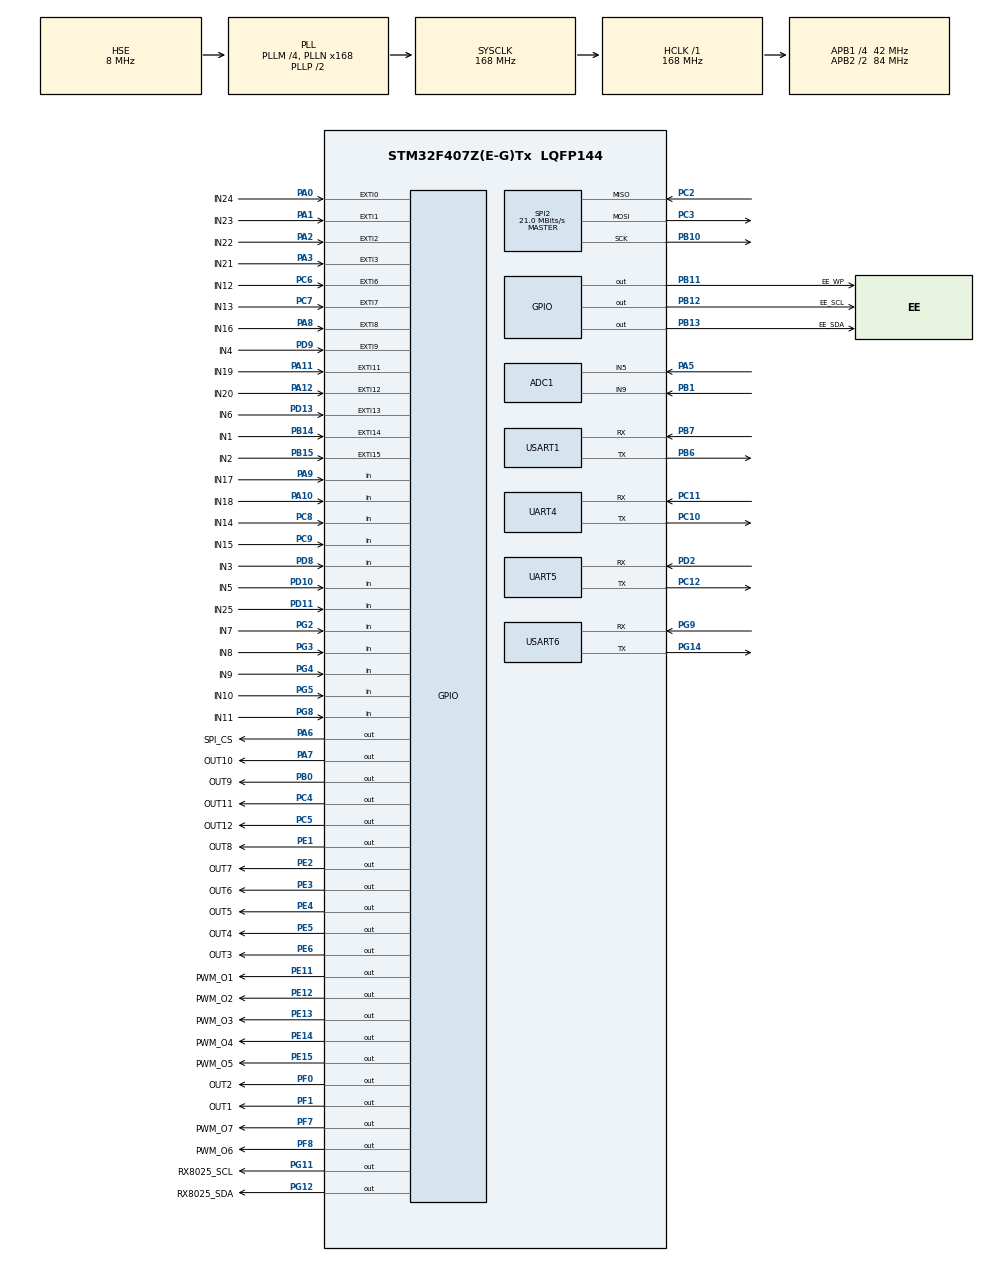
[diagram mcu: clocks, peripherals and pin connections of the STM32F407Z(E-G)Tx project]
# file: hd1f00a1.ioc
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ADC1.Channel-0\#ChannelRegularConversion=ADC_CHANNEL_5
ADC1.Channel-1\#ChannelRegularConversion=ADC_CHANNEL_9
ADC1.ClockPrescaler=ADC_CLOCK_SYNC_PCLK_DIV8
ADC1.ContinuousConvMode=DISABLE
ADC1.DMAContinuousRequests=ENABLE
ADC1.EOCSelection=ADC_EOC_SEQ_CONV
ADC1.NbrOfConversion=2
ADC1.NbrOfConversionFlag=1
ADC1.Rank-0\#ChannelRegularConversion=1
ADC1.Rank-1\#ChannelRegularConversion=2
ADC1.SamplingTime-0\#ChannelRegularConversion=ADC_SAMPLETIME_480CYCLES
ADC1.SamplingTime-1\#ChannelRegularConversion=ADC_SAMPLETIME_480CYCLES
ADC1.master=1
Dma.ADC1.1.Direction=DMA_PERIPH_TO_MEMORY
Dma.ADC1.1.FIFOMode=DMA_FIFOMODE_DISABLE
Dma.ADC1.1.Instance=DMA2_Stream0
Dma.ADC1.1.MemDataAlignment=DMA_MDATAALIGN_HALFWORD
Dma.ADC1.1.MemInc=DMA_MINC_ENABLE
Dma.ADC1.1.Mode=DMA_NORMAL
Dma.ADC1.1.PeriphDataAlignment=DMA_PDATAALIGN_HALFWORD
Dma.ADC1.1.PeriphInc=DMA_PINC_DISABLE
Dma.ADC1.1.Priority=DMA_PRIORITY_LOW
Dma.Request0=TIM8_UP
Dma.Request1=ADC1
Dma.TIM8_UP.0.Direction=DMA_MEMORY_TO_PERIPH
Dma.TIM8_UP.0.FIFOMode=DMA_FIFOMODE_DISABLE
Dma.TIM8_UP.0.Instance=DMA2_Stream1
Dma.TIM8_UP.0.MemDataAlignment=DMA_MDATAALIGN_WORD
Dma.TIM8_UP.0.MemInc=DMA_MINC_ENABLE
Dma.TIM8_UP.0.Mode=DMA_NORMAL
Dma.TIM8_UP.0.PeriphDataAlignment=DMA_PDATAALIGN_WORD
Dma.TIM8_UP.0.PeriphInc=DMA_PINC_DISABLE
Dma.TIM8_UP.0.Priority=DMA_PRIORITY_LOW
FREERTOS.INCLUDE_uxTaskGetStackHighWaterMark=1
FREERTOS.MEMORY_ALLOCATION=0
FREERTOS.Tasks01=defaultTask,0,128,StartDefaultTask,Default,NULL,Dynamic,NULL,NULL
FREERTOS.configMINIMAL_STACK_SIZE=256
FREERTOS.configTOTAL_HEAP_SIZE=0x8000
FREERTOS.configUSE_PREEMPTION=0
FREERTOS.configUSE_STATS_FORMATTING_FUNCTIONS=1
FREERTOS.configUSE_TRACE_FACILITY=1
IWDG.Prescaler=IWDG_PRESCALER_64
Mcu.Family=STM32F4
Mcu.Name=STM32F407Z(E-G)Tx
Mcu.Package=LQFP144
NVIC.DMA2_Stream0_IRQn=true\:5\:0\:false\:false\:true\:true\:false\:true\:true
NVIC.DMA2_Stream1_IRQn=true\:5\:0\:false\:false\:true\:true\:false\:true\:true
NVIC.EXTI0_IRQn=true\:5\:0\:false\:false\:true\:true\:true\:true\:true
NVIC.EXTI15_10_IRQn=true\:5\:0\:false\:false\:true\:true\:true\:true\:true
NVIC.EXTI1_IRQn=true\:5\:0\:false\:false\:true\:true\:true\:true\:true
NVIC.EXTI2_IRQn=true\:5\:0\:false\:false\:true\:true\:true\:true\:true
NVIC.EXTI3_IRQn=true\:5\:0\:false\:false\:true\:true\:true\:true\:true
NVIC.EXTI9_5_IRQn=true\:5\:0\:false\:false\:true\:true\:true\:true\:true
NVIC.PriorityGroup=NVIC_PRIORITYGROUP_4
NVIC.TIM1_TRG_COM_TIM11_IRQn=true\:5\:0\:false\:false\:true\:true\:true\:true\:true
NVIC.TIM1_UP_TIM10_IRQn=true\:5\:0\:false\:false\:true\:true\:true\:true\:true
NVIC.TIM3_IRQn=true\:5\:0\:false\:false\:true\:true\:true\:true\:true
NVIC.TIM4_IRQn=true\:5\:0\:false\:false\:true\:true\:true\:true\:true
NVIC.TIM8_UP_TIM13_IRQn=true\:5\:0\:false\:false\:true\:true\:true\:true\:true
NVIC.UART4_IRQn=true\:5\:0\:false\:false\:true\:true\:true\:true\:true
NVIC.UART5_IRQn=true\:5\:0\:false\:false\:true\:true\:true\:true\:true
NVIC.USART1_IRQn=true\:5\:0\:false\:false\:true\:true\:true\:true\:true
NVIC.USART6_IRQn=true\:5\:0\:false\:false\:true\:true\:true\:true\:true
PA0-WKUP.GPIO_Label=IN24
PA0-WKUP.GPIO_ModeDefaultEXTI=GPIO_MODE_IT_FALLING
PA0-WKUP.Signal=GPXTI0
PA1.GPIO_Label=IN23
PA1.GPIO_ModeDefaultEXTI=GPIO_MODE_IT_FALLING
PA1.Signal=GPXTI1
PA10.GPIO_Label=IN18
PA10.Signal=GPIO_Input
PA11.GPIO_Label=IN19
PA11.GPIO_ModeDefaultEXTI=GPIO_MODE_IT_FALLING
PA11.Signal=GPXTI11
PA12.GPIO_Label=IN20
PA12.GPIO_ModeDefaultEXTI=GPIO_MODE_IT_FALLING
PA12.Signal=GPXTI12
PA13.Mode=Serial_Wire
PA13.Signal=SYS_JTMS-SWDIO
PA14.Mode=Serial_Wire
PA14.Signal=SYS_JTCK-SWCLK
PA2.GPIO_Label=IN22
PA2.GPIO_ModeDefaultEXTI=GPIO_MODE_IT_FALLING
PA2.Signal=GPXTI2
PA3.GPIO_Label=IN21
PA3.GPIO_ModeDefaultEXTI=GPIO_MODE_IT_FALLING
PA3.Signal=GPXTI3
PA5.Signal=ADCx_IN5
PA6.GPIO_Label=SPI_CS
PA6.GPIO_Speed=GPIO_SPEED_FREQ_VERY_HIGH
PA6.PinState=GPIO_PIN_SET
PA6.Signal=GPIO_Output
PA7.GPIO_Label=OUT10
PA7.GPIO_Speed=GPIO_SPEED_FREQ_VERY_HIGH
PA7.Signal=GPIO_Output
PA8.GPIO_Label=IN16
PA8.GPIO_ModeDefaultEXTI=GPIO_MODE_IT_FALLING
PA8.Signal=GPXTI8
PA9.GPIO_Label=IN17
PA9.Signal=GPIO_Input
PB0.GPIO_Label=OUT9
PB0.GPIO_Speed=GPIO_SPEED_FREQ_VERY_HIGH
PB0.Signal=GPIO_Output
PB1.Signal=ADCx_IN9
PB10.Mode=Full_Duplex_Master
PB10.Signal=SPI2_SCK
PB11.GPIO_Label=EE_WP
PB11.GPIO_Speed=GPIO_SPEED_FREQ_HIGH
PB11.Signal=GPIO_Output
PB12.GPIO_Label=EE_SCL
PB12.GPIO_ModeDefaultOutputPP=GPIO_MODE_OUTPUT_OD
PB12.GPIO_PuPd=GPIO_PULLUP
PB12.GPIO_Speed=GPIO_SPEED_FREQ_VERY_HIGH
PB12.PinState=GPIO_PIN_SET
PB12.Signal=GPIO_Output
PB13.GPIO_Label=EE_SDA
PB13.GPIO_ModeDefaultOutputPP=GPIO_MODE_OUTPUT_OD
PB13.GPIO_PuPd=GPIO_PULLUP
PB13.GPIO_Speed=GPIO_SPEED_FREQ_VERY_HIGH
PB13.PinState=GPIO_PIN_SET
PB13.Signal=GPIO_Output
PB14.GPIO_Label=IN1
PB14.GPIO_ModeDefaultEXTI=GPIO_MODE_IT_FALLING
PB14.Signal=GPXTI14
PB15.GPIO_Label=IN2
PB15.GPIO_ModeDefaultEXTI=GPIO_MODE_IT_FALLING
PB15.Signal=GPXTI15
PB6.Mode=Asynchronous
PB6.Signal=USART1_TX
PB7.Mode=Asynchronous
PB7.Signal=USART1_RX
PC10.Mode=Asynchronous
PC10.Signal=UART4_TX
PC11.Mode=Asynchronous
PC11.Signal=UART4_RX
PC12.Mode=Asynchronous
PC12.Signal=UART5_TX
PC2.Mode=Full_Duplex_Master
PC2.Signal=SPI2_MISO
PC3.Mode=Full_Duplex_Master
PC3.Signal=SPI2_MOSI
PC4.GPIO_Label=OUT11
PC4.GPIO_Speed=GPIO_SPEED_FREQ_VERY_HIGH
PC4.Signal=GPIO_Output
PC5.GPIO_Label=OUT12
PC5.GPIO_Speed=GPIO_SPEED_FREQ_VERY_HIGH
PC5.Signal=GPIO_Output
PC6.GPIO_Label=IN12
PC6.GPIO_ModeDefaultEXTI=GPIO_MODE_IT_FALLING
PC6.Signal=GPXTI6
PC7.GPIO_Label=IN13
PC7.GPIO_ModeDefaultEXTI=GPIO_MODE_IT_FALLING
PC7.Signal=GPXTI7
PC8.GPIO_Label=IN14
PC8.Signal=GPIO_Input
PC9.GPIO_Label=IN15
PC9.Signal=GPIO_Input
PD10.GPIO_Label=IN5
PD10.Signal=GPIO_Input
PD11.GPIO_Label=IN25
PD11.Signal=GPIO_Input
PD13.GPIO_Label=IN6
PD13.GPIO_ModeDefaultEXTI=GPIO_MODE_IT_FALLING
PD13.Signal=GPXTI13
PD2.Mode=Asynchronous
PD2.Signal=UART5_RX
PD8.GPIO_Label=IN3
PD8.Signal=GPIO_Input
PD9.GPIO_Label=IN4
PD9.GPIO_ModeDefaultEXTI=GPIO_MODE_IT_FALLING
PD9.Signal=GPXTI9
PE1.GPIO_Label=OUT8
PE1.GPIO_Speed=GPIO_SPEED_FREQ_VERY_HIGH
PE1.Signal=GPIO_Output
PE11.GPIO_Label=PWM_O1
PE11.GPIO_Speed=GPIO_SPEED_FREQ_VERY_HIGH
PE11.PinState=GPIO_PIN_RESET
PE11.Signal=GPIO_Output
PE12.GPIO_Label=PWM_O2
PE12.GPIO_Speed=GPIO_SPEED_FREQ_VERY_HIGH
PE12.PinState=GPIO_PIN_RESET
PE12.Signal=GPIO_Output
PE13.GPIO_Label=PWM_O3
PE13.GPIO_Speed=GPIO_SPEED_FREQ_VERY_HIGH
PE13.PinState=GPIO_PIN_RESET
PE13.Signal=GPIO_Output
PE14.GPIO_Label=PWM_O4
PE14.GPIO_Speed=GPIO_SPEED_FREQ_VERY_HIGH
PE14.PinState=GPIO_PIN_RESET
PE14.Signal=GPIO_Output
PE15.GPIO_Label=PWM_O5
PE15.GPIO_Speed=GPIO_SPEED_FREQ_VERY_HIGH
PE15.PinState=GPIO_PIN_RESET
PE15.Signal=GPIO_Output
PE2.GPIO_Label=OUT7
PE2.GPIO_Speed=GPIO_SPEED_FREQ_VERY_HIGH
PE2.Signal=GPIO_Output
PE3.GPIO_Label=OUT6
PE3.GPIO_Speed=GPIO_SPEED_FREQ_VERY_HIGH
PE3.Signal=GPIO_Output
PE4.GPIO_Label=OUT5
PE4.GPIO_Speed=GPIO_SPEED_FREQ_VERY_HIGH
PE4.Signal=GPIO_Output
PE5.GPIO_Label=OUT4
PE5.GPIO_Speed=GPIO_SPEED_FREQ_VERY_HIGH
PE5.Signal=GPIO_Output
PE6.GPIO_Label=OUT3
PE6.GPIO_Speed=GPIO_SPEED_FREQ_VERY_HIGH
PE6.Signal=GPIO_Output
PF0.GPIO_Label=OUT2
PF0.GPIO_Speed=GPIO_SPEED_FREQ_VERY_HIGH
PF0.Signal=GPIO_Output
PF1.GPIO_Label=OUT1
PF1.GPIO_Speed=GPIO_SPEED_FREQ_VERY_HIGH
PF1.Signal=GPIO_Output
PF6.Signal=S_TIM10_CH1
PF7.GPIO_Label=PWM_O7
PF7.GPIO_Speed=GPIO_SPEED_FREQ_VERY_HIGH
PF7.Signal=GPIO_Output
PF8.GPIO_Label=PWM_O6
PF8.GPIO_Speed=GPIO_SPEED_FREQ_VERY_HIGH
PF8.PinState=GPIO_PIN_RESET
PF8.Signal=GPIO_Output
PG11.GPIO_Label=RX8025_SCL
PG11.GPIO_ModeDefaultOutputPP=GPIO_MODE_OUTPUT_OD
PG11.GPIO_PuPd=GPIO_PULLUP
PG11.GPIO_Speed=GPIO_SPEED_FREQ_VERY_HIGH
PG11.PinState=GPIO_PIN_SET
PG11.Signal=GPIO_Output
PG12.GPIO_Label=RX8025_SDA
PG12.GPIO_ModeDefaultOutputPP=GPIO_MODE_OUTPUT_OD
PG12.GPIO_PuPd=GPIO_PULLUP
PG12.GPIO_Speed=GPIO_SPEED_FREQ_VERY_HIGH
PG12.PinState=GPIO_PIN_SET
PG12.Signal=GPIO_Output
PG14.Mode=Asynchronous
PG14.Signal=USART6_TX
PG2.GPIO_Label=IN7
PG2.Signal=GPIO_Input
PG3.GPIO_Label=IN8
PG3.Signal=GPIO_Input
PG4.GPIO_Label=IN9
PG4.Signal=GPIO_Input
PG5.GPIO_Label=IN10
PG5.Signal=GPIO_Input
PG8.GPIO_Label=IN11
PG8.Signal=GPIO_Input
PG9.Mode=Asynchronous
PG9.Signal=USART6_RX
PH0-OSC_IN.Mode=HSE-External-Oscillator
PH0-OSC_IN.Signal=RCC_OSC_IN
PH1-OSC_OUT.Mode=HSE-External-Oscillator
PH1-OSC_OUT.Signal=RCC_OSC_OUT
ProjectManager.HeapSize=0x8000
ProjectManager.StackSize=0x400
ProjectManager.TargetToolchain=MDK-ARM V5
RCC.48MHZClocksFreq_Value=84000000
RCC.AHBFreq_Value=168000000
RCC.APB1CLKDivider=RCC_HCLK_DIV4
RCC.APB1Freq_Value=42000000
RCC.APB1TimFreq_Value=84000000
RCC.APB2CLKDivider=RCC_HCLK_DIV2
RCC.APB2Freq_Value=84000000
RCC.APB2TimFreq_Value=168000000
RCC.CortexFreq_Value=168000000
RCC.HCLKFreq_Value=168000000
RCC.HSE_VALUE=8000000
RCC.HSI_VALUE=16000000
RCC.LSE_VALUE=32768
RCC.PLLM=4
RCC.PLLN=168
RCC.PLLSourceVirtual=RCC_PLLSOURCE_HSE
RCC.SYSCLKFreq_VALUE=168000000
RCC.SYSCLKSource=RCC_SYSCLKSOURCE_PLLCLK
RCC.VCOOutputFreq_Value=336000000
SH.ADCx_IN5.0=ADC1_IN5,IN5
SH.ADCx_IN9.0=ADC1_IN9,IN9
SH.S_TIM10_CH1.0=TIM10_CH1
SPI2.CalculateBaudRate=21.0 MBits/s
SPI2.Direction=SPI_DIRECTION_2LINES
SPI2.Mode=SPI_MODE_MASTER
SPI2.VirtualType=VM_MASTER
TIM1.AutoReloadPreload=TIM_AUTORELOAD_PRELOAD_ENABLE
TIM1.Period=500*8-1
TIM1.Prescaler=168/8-1
TIM10.AutoReloadPreload=TIM_AUTORELOAD_PRELOAD_ENABLE
TIM10.Period=500/2-1
TIM10.Prescaler=168-1
TIM11.AutoReloadPreload=TIM_AUTORELOAD_PRELOAD_ENABLE
TIM11.Period=500/2-1
TIM11.Prescaler=168-1
TIM13.AutoReloadPreload=TIM_AUTORELOAD_PRELOAD_ENABLE
TIM13.Period=500/2-1
TIM13.Prescaler=168-1
TIM3.AutoReloadPreload=TIM_AUTORELOAD_PRELOAD_ENABLE
TIM3.Prescaler=168/8-1
TIM4.AutoReloadPreload=TIM_AUTORELOAD_PRELOAD_ENABLE
TIM4.Prescaler=168/8-1
TIM6.AutoReloadPreload=TIM_AUTORELOAD_PRELOAD_ENABLE
TIM6.Period=0xFFFF
TIM6.Prescaler=83
TIM8.AutoReloadPreload=TIM_AUTORELOAD_PRELOAD_ENABLE
TIM8.Prescaler=168-1
UART4.VirtualMode=Asynchronous
UART5.VirtualMode=Asynchronous
USART1.VirtualMode=VM_ASYNC
USART6.VirtualMode=VM_ASYNC
VP_FREERTOS_VS_CMSIS_V1.Mode=CMSIS_V1
VP_IWDG_VS_IWDG.Mode=IWDG_Activate
VP_TIM10_VS_ClockSourceINT.Mode=Enable_Timer
VP_TIM11_VS_ClockSourceINT.Mode=Enable_Timer
VP_TIM13_VS_ClockSourceINT.Mode=Enable_Timer
VP_TIM1_VS_ClockSourceINT.Mode=Internal
VP_TIM3_VS_ClockSourceINT.Mode=Internal
VP_TIM4_VS_ClockSourceINT.Mode=Internal
VP_TIM6_VS_ClockSourceINT.Mode=Enable_Timer
VP_TIM8_VS_ClockSourceINT.Mode=Internal
board=custom

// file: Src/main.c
/* USER CODE BEGIN Header */
/**
  ******************************************************************************
  * @file           : main.c
  * @brief          : Main program body
  ******************************************************************************
  * @attention
  *
  * <h2><center>&copy; Copyright (c) 2020 STMicroelectronics.
  * All rights reserved.</center></h2>
  *
  * This software component is licensed by ST under Ultimate Liberty license
  * SLA0044, the "License"; You may not use this file except in compliance with
  * the License. You may obtain a copy of the License at:
  *                             www.st.com/SLA0044
  *
  ******************************************************************************
  */
/* USER CODE END Header */
#include "main.h"
#include "cmsis_os.h"

/* USER CODE BEGIN Includes */
#include "protocol.h"
#include "string.h"
#include "stdio.h"
/* USER CODE END Includes */

ADC_HandleTypeDef hadc1;
DMA_HandleTypeDef hdma_adc1;

IWDG_HandleTypeDef hiwdg;

SPI_HandleTypeDef hspi2;

TIM_HandleTypeDef htim1;
TIM_HandleTypeDef htim3;
TIM_HandleTypeDef htim4;
TIM_HandleTypeDef htim6;
TIM_HandleTypeDef htim8;
TIM_HandleTypeDef htim10;
TIM_HandleTypeDef htim11;
TIM_HandleTypeDef htim13;
DMA_HandleTypeDef hdma_tim8_up;

UART_HandleTypeDef huart4;
UART_HandleTypeDef huart5;
UART_HandleTypeDef huart1;
UART_HandleTypeDef huart6;

osThreadId defaultTaskHandle;

void SystemClock_Config(void);
static void MX_GPIO_Init(void);
static void MX_DMA_Init(void);
static void MX_TIM6_Init(void);
static void MX_UART4_Init(void);
static void MX_UART5_Init(void);
static void MX_USART6_UART_Init(void);
static void MX_IWDG_Init(void);
static void MX_TIM3_Init(void);
static void MX_TIM8_Init(void);
static void MX_ADC1_Init(void);
static void MX_TIM10_Init(void);
static void MX_SPI2_Init(void);
static void MX_USART1_UART_Init(void);
static void MX_TIM1_Init(void);
static void MX_TIM4_Init(void);
static void MX_TIM11_Init(void);
static void MX_TIM13_Init(void);
void StartDefaultTask(void const * argument);

int main(void)
{

  /* MCU Configuration--------------------------------------------------------*/

  /* Reset of all peripherals, Initializes the Flash interface and the Systick. */
  HAL_Init();

  /* Configure the system clock */
  SystemClock_Config();

  /* Initialize all configured peripherals */
  MX_GPIO_Init();
  MX_DMA_Init();
  MX_TIM6_Init();
  MX_UART4_Init();
  MX_UART5_Init();
  MX_USART6_UART_Init();
  MX_TIM3_Init();
  MX_TIM8_Init();
  MX_ADC1_Init();
  MX_TIM10_Init();
  MX_SPI2_Init();
  MX_USART1_UART_Init();
  MX_TIM1_Init();
  MX_TIM4_Init();
  MX_TIM11_Init();
  MX_TIM13_Init();
  /* USER CODE BEGIN 2 */
#if WDG_ENABLE
  MX_IWDG_Init();
  __HAL_DBGMCU_FREEZE_IWDG();
#endif
  /* USER CODE END 2 */

  /* Create the thread(s) */
  /* definition and creation of defaultTask */
  osThreadDef(defaultTask, StartDefaultTask, osPriorityNormal, 0, 128);
  defaultTaskHandle = osThreadCreate(osThread(defaultTask), NULL);

  /* USER CODE BEGIN RTOS_THREADS */
  osThreadDef(appmaintask, AppMain, osPriorityNormal, 0, 256);
  defaultTaskHandle = osThreadCreate(osThread(appmaintask), NULL);

  /* add threads, ... */
  /* USER CODE END RTOS_THREADS */

  /* Start scheduler */
  osKernelStart();

  /* We should never get here as control is now taken by the scheduler */

  /* Infinite loop */
  while (1)
  {

  }
}

void SystemClock_Config(void)
{
  RCC_OscInitTypeDef RCC_OscInitStruct = {0};
  RCC_ClkInitTypeDef RCC_ClkInitStruct = {0};

  /** Configure the main internal regulator output voltage
  */
  __HAL_RCC_PWR_CLK_ENABLE();
  __HAL_PWR_VOLTAGESCALING_CONFIG(PWR_REGULATOR_VOLTAGE_SCALE1);

  /** Initializes the RCC Oscillators according to the specified parameters
  * in the RCC_OscInitTypeDef structure.
  */
  RCC_OscInitStruct.OscillatorType = RCC_OSCILLATORTYPE_LSI|RCC_OSCILLATORTYPE_HSE;
  RCC_OscInitStruct.HSEState = RCC_HSE_ON;
  RCC_OscInitStruct.LSIState = RCC_LSI_ON;
  RCC_OscInitStruct.PLL.PLLState = RCC_PLL_ON;
  RCC_OscInitStruct.PLL.PLLSource = RCC_PLLSOURCE_HSE;
  RCC_OscInitStruct.PLL.PLLM = 4;
  RCC_OscInitStruct.PLL.PLLN = 168;
  RCC_OscInitStruct.PLL.PLLP = RCC_PLLP_DIV2;
  RCC_OscInitStruct.PLL.PLLQ = 4;
  if (HAL_RCC_OscConfig(&RCC_OscInitStruct) != HAL_OK)
  {
    Error_Handler();
  }

  /** Initializes the CPU, AHB and APB buses clocks
  */
  RCC_ClkInitStruct.ClockType = RCC_CLOCKTYPE_HCLK|RCC_CLOCKTYPE_SYSCLK
                              |RCC_CLOCKTYPE_PCLK1|RCC_CLOCKTYPE_PCLK2;
  RCC_ClkInitStruct.SYSCLKSource = RCC_SYSCLKSOURCE_PLLCLK;
  RCC_ClkInitStruct.AHBCLKDivider = RCC_SYSCLK_DIV1;
  RCC_ClkInitStruct.APB1CLKDivider = RCC_HCLK_DIV4;
  RCC_ClkInitStruct.APB2CLKDivider = RCC_HCLK_DIV2;

  if (HAL_RCC_ClockConfig(&RCC_ClkInitStruct, FLASH_LATENCY_5) != HAL_OK)
  {
    Error_Handler();
  }
}

static void MX_ADC1_Init(void)
{

  ADC_ChannelConfTypeDef sConfig = {0};

  /** Configure the global features of the ADC (Clock, Resolution, Data Alignment and number of conversion)
  */
  hadc1.Instance = ADC1;
  hadc1.Init.ClockPrescaler = ADC_CLOCK_SYNC_PCLK_DIV8;
  hadc1.Init.Resolution = ADC_RESOLUTION_12B;
  hadc1.Init.ScanConvMode = ENABLE;
  hadc1.Init.ContinuousConvMode = DISABLE;
  hadc1.Init.DiscontinuousConvMode = DISABLE;
  hadc1.Init.ExternalTrigConvEdge = ADC_EXTERNALTRIGCONVEDGE_NONE;
  hadc1.Init.ExternalTrigConv = ADC_SOFTWARE_START;
  hadc1.Init.DataAlign = ADC_DATAALIGN_RIGHT;
  hadc1.Init.NbrOfConversion = 2;
  hadc1.Init.DMAContinuousRequests = ENABLE;
  hadc1.Init.EOCSelection = ADC_EOC_SEQ_CONV;
  if (HAL_ADC_Init(&hadc1) != HAL_OK)
  {
    Error_Handler();
  }

  /** Configure for the selected ADC regular channel its corresponding rank in the sequencer and its sample time.
  */
  sConfig.Channel = ADC_CHANNEL_5;
  sConfig.Rank = 1;
  sConfig.SamplingTime = ADC_SAMPLETIME_480CYCLES;
  if (HAL_ADC_ConfigChannel(&hadc1, &sConfig) != HAL_OK)
  {
    Error_Handler();
  }

  /** Configure for the selected ADC regular channel its corresponding rank in the sequencer and its sample time.
  */
  sConfig.Channel = ADC_CHANNEL_9;
  sConfig.Rank = 2;
  if (HAL_ADC_ConfigChannel(&hadc1, &sConfig) != HAL_OK)
  {
    Error_Handler();
  }

}

static void MX_IWDG_Init(void)
{

  hiwdg.Instance = IWDG;
  hiwdg.Init.Prescaler = IWDG_PRESCALER_64;
  hiwdg.Init.Reload = 4095;
  if (HAL_IWDG_Init(&hiwdg) != HAL_OK)
  {
    Error_Handler();
  }

}

static void MX_SPI2_Init(void)
{

  /* SPI2 parameter configuration*/
  hspi2.Instance = SPI2;
  hspi2.Init.Mode = SPI_MODE_MASTER;
  hspi2.Init.Direction = SPI_DIRECTION_2LINES;
  hspi2.Init.DataSize = SPI_DATASIZE_8BIT;
  hspi2.Init.CLKPolarity = SPI_POLARITY_LOW;
  hspi2.Init.CLKPhase = SPI_PHASE_1EDGE;
  hspi2.Init.NSS = SPI_NSS_SOFT;
  hspi2.Init.BaudRatePrescaler = SPI_BAUDRATEPRESCALER_2;
  hspi2.Init.FirstBit = SPI_FIRSTBIT_MSB;
  hspi2.Init.TIMode = SPI_TIMODE_DISABLE;
  hspi2.Init.CRCCalculation = SPI_CRCCALCULATION_DISABLE;
  hspi2.Init.CRCPolynomial = 10;
  if (HAL_SPI_Init(&hspi2) != HAL_OK)
  {
    Error_Handler();
  }

}

static void MX_TIM1_Init(void)
{

  TIM_ClockConfigTypeDef sClockSourceConfig = {0};
  TIM_MasterConfigTypeDef sMasterConfig = {0};

  htim1.Instance = TIM1;
  htim1.Init.Prescaler = 168/8-1;
  htim1.Init.CounterMode = TIM_COUNTERMODE_UP;
  htim1.Init.Period = 500*8-1;
  htim1.Init.ClockDivision = TIM_CLOCKDIVISION_DIV1;
  htim1.Init.RepetitionCounter = 0;
  htim1.Init.AutoReloadPreload = TIM_AUTORELOAD_PRELOAD_ENABLE;
  if (HAL_TIM_Base_Init(&htim1) != HAL_OK)
  {
    Error_Handler();
  }
  sClockSourceConfig.ClockSource = TIM_CLOCKSOURCE_INTERNAL;
  if (HAL_TIM_ConfigClockSource(&htim1, &sClockSourceConfig) != HAL_OK)
  {
    Error_Handler();
  }
  sMasterConfig.MasterOutputTrigger = TIM_TRGO_RESET;
  sMasterConfig.MasterSlaveMode = TIM_MASTERSLAVEMODE_DISABLE;
  if (HAL_TIMEx_MasterConfigSynchronization(&htim1, &sMasterConfig) != HAL_OK)
  {
    Error_Handler();
  }

}

static void MX_TIM3_Init(void)
{

  TIM_ClockConfigTypeDef sClockSourceConfig = {0};
  TIM_MasterConfigTypeDef sMasterConfig = {0};

  htim3.Instance = TIM3;
  htim3.Init.Prescaler = 168/8-1;
  htim3.Init.CounterMode = TIM_COUNTERMODE_UP;
  htim3.Init.Period = 65535;
  htim3.Init.ClockDivision = TIM_CLOCKDIVISION_DIV1;
  htim3.Init.AutoReloadPreload = TIM_AUTORELOAD_PRELOAD_ENABLE;
  if (HAL_TIM_Base_Init(&htim3) != HAL_OK)
  {
    Error_Handler();
  }
  sClockSourceConfig.ClockSource = TIM_CLOCKSOURCE_INTERNAL;
  if (HAL_TIM_ConfigClockSource(&htim3, &sClockSourceConfig) != HAL_OK)
  {
    Error_Handler();
  }
  sMasterConfig.MasterOutputTrigger = TIM_TRGO_RESET;
  sMasterConfig.MasterSlaveMode = TIM_MASTERSLAVEMODE_DISABLE;
  if (HAL_TIMEx_MasterConfigSynchronization(&htim3, &sMasterConfig) != HAL_OK)
  {
    Error_Handler();
  }

}

static void MX_TIM4_Init(void)
{

  TIM_ClockConfigTypeDef sClockSourceConfig = {0};
  TIM_MasterConfigTypeDef sMasterConfig = {0};

  htim4.Instance = TIM4;
  htim4.Init.Prescaler = 168/8-1;
  htim4.Init.CounterMode = TIM_COUNTERMODE_UP;
  htim4.Init.Period = 65535;
  htim4.Init.ClockDivision = TIM_CLOCKDIVISION_DIV1;
  htim4.Init.AutoReloadPreload = TIM_AUTORELOAD_PRELOAD_ENABLE;
  if (HAL_TIM_Base_Init(&htim4) != HAL_OK)
  {
    Error_Handler();
  }
  sClockSourceConfig.ClockSource = TIM_CLOCKSOURCE_INTERNAL;
  if (HAL_TIM_ConfigClockSource(&htim4, &sClockSourceConfig) != HAL_OK)
  {
    Error_Handler();
  }
  sMasterConfig.MasterOutputTrigger = TIM_TRGO_RESET;
  sMasterConfig.MasterSlaveMode = TIM_MASTERSLAVEMODE_DISABLE;
  if (HAL_TIMEx_MasterConfigSynchronization(&htim4, &sMasterConfig) != HAL_OK)
  {
    Error_Handler();
  }

}

static void MX_TIM6_Init(void)
{

  TIM_MasterConfigTypeDef sMasterConfig = {0};

  htim6.Instance = TIM6;
  htim6.Init.Prescaler = 83;
  htim6.Init.CounterMode = TIM_COUNTERMODE_UP;
  htim6.Init.Period = 0xFFFF;
  htim6.Init.AutoReloadPreload = TIM_AUTORELOAD_PRELOAD_ENABLE;
  if (HAL_TIM_Base_Init(&htim6) != HAL_OK)
  {
    Error_Handler();
  }
  sMasterConfig.MasterOutputTrigger = TIM_TRGO_RESET;
  sMasterConfig.MasterSlaveMode = TIM_MASTERSLAVEMODE_DISABLE;
  if (HAL_TIMEx_MasterConfigSynchronization(&htim6, &sMasterConfig) != HAL_OK)
  {
    Error_Handler();
  }
  /* USER CODE BEGIN TIM6_Init 2 */
  HAL_TIM_Base_Start(&htim6);
  /* USER CODE END TIM6_Init 2 */

}

static void MX_TIM8_Init(void)
{

  TIM_ClockConfigTypeDef sClockSourceConfig = {0};
  TIM_MasterConfigTypeDef sMasterConfig = {0};

  htim8.Instance = TIM8;
  htim8.Init.Prescaler = 168-1;
  htim8.Init.CounterMode = TIM_COUNTERMODE_UP;
  htim8.Init.Period = 65535;
  htim8.Init.ClockDivision = TIM_CLOCKDIVISION_DIV1;
  htim8.Init.RepetitionCounter = 0;
  htim8.Init.AutoReloadPreload = TIM_AUTORELOAD_PRELOAD_ENABLE;
  if (HAL_TIM_Base_Init(&htim8) != HAL_OK)
  {
    Error_Handler();
  }
  sClockSourceConfig.ClockSource = TIM_CLOCKSOURCE_INTERNAL;
  if (HAL_TIM_ConfigClockSource(&htim8, &sClockSourceConfig) != HAL_OK)
  {
    Error_Handler();
  }
  sMasterConfig.MasterOutputTrigger = TIM_TRGO_RESET;
  sMasterConfig.MasterSlaveMode = TIM_MASTERSLAVEMODE_DISABLE;
  if (HAL_TIMEx_MasterConfigSynchronization(&htim8, &sMasterConfig) != HAL_OK)
  {
    Error_Handler();
  }

}

static void MX_TIM10_Init(void)
{

  htim10.Instance = TIM10;
  htim10.Init.Prescaler = 168-1;
  htim10.Init.CounterMode = TIM_COUNTERMODE_UP;
  htim10.Init.Period = 500/2-1;
  htim10.Init.ClockDivision = TIM_CLOCKDIVISION_DIV1;
  htim10.Init.AutoReloadPreload = TIM_AUTORELOAD_PRELOAD_ENABLE;
  if (HAL_TIM_Base_Init(&htim10) != HAL_OK)
  {
    Error_Handler();
  }

}

static void MX_TIM11_Init(void)
{

  htim11.Instance = TIM11;
  htim11.Init.Prescaler = 168-1;
  htim11.Init.CounterMode = TIM_COUNTERMODE_UP;
  htim11.Init.Period = 500/2-1;
  htim11.Init.ClockDivision = TIM_CLOCKDIVISION_DIV1;
  htim11.Init.AutoReloadPreload = TIM_AUTORELOAD_PRELOAD_ENABLE;
  if (HAL_TIM_Base_Init(&htim11) != HAL_OK)
  {
    Error_Handler();
  }

}

static void MX_TIM13_Init(void)
{

  htim13.Instance = TIM13;
  htim13.Init.Prescaler = 168-1;
  htim13.Init.CounterMode = TIM_COUNTERMODE_UP;
  htim13.Init.Period = 500/2-1;
  htim13.Init.ClockDivision = TIM_CLOCKDIVISION_DIV1;
  htim13.Init.AutoReloadPreload = TIM_AUTORELOAD_PRELOAD_ENABLE;
  if (HAL_TIM_Base_Init(&htim13) != HAL_OK)
  {
    Error_Handler();
  }

}

static void MX_UART4_Init(void)
{

  huart4.Instance = UART4;
  huart4.Init.BaudRate = 115200;
  huart4.Init.WordLength = UART_WORDLENGTH_8B;
  huart4.Init.StopBits = UART_STOPBITS_1;
  huart4.Init.Parity = UART_PARITY_NONE;
  huart4.Init.Mode = UART_MODE_TX_RX;
  huart4.Init.HwFlowCtl = UART_HWCONTROL_NONE;
  huart4.Init.OverSampling = UART_OVERSAMPLING_16;
  if (HAL_UART_Init(&huart4) != HAL_OK)
  {
    Error_Handler();
  }

}

static void MX_UART5_Init(void)
{

  huart5.Instance = UART5;
  huart5.Init.BaudRate = 115200;
  huart5.Init.WordLength = UART_WORDLENGTH_8B;
  huart5.Init.StopBits = UART_STOPBITS_1;
  huart5.Init.Parity = UART_PARITY_NONE;
  huart5.Init.Mode = UART_MODE_TX_RX;
  huart5.Init.HwFlowCtl = UART_HWCONTROL_NONE;
  huart5.Init.OverSampling = UART_OVERSAMPLING_16;
  if (HAL_UART_Init(&huart5) != HAL_OK)
  {
    Error_Handler();
  }

}

static void MX_USART1_UART_Init(void)
{

  huart1.Instance = USART1;
  huart1.Init.BaudRate = 115200;
  huart1.Init.WordLength = UART_WORDLENGTH_8B;
  huart1.Init.StopBits = UART_STOPBITS_1;
  huart1.Init.Parity = UART_PARITY_NONE;
  huart1.Init.Mode = UART_MODE_TX_RX;
  huart1.Init.HwFlowCtl = UART_HWCONTROL_NONE;
  huart1.Init.OverSampling = UART_OVERSAMPLING_16;
  if (HAL_UART_Init(&huart1) != HAL_OK)
  {
    Error_Handler();
  }

}

static void MX_USART6_UART_Init(void)
{

  huart6.Instance = USART6;
  huart6.Init.BaudRate = 115200;
  huart6.Init.WordLength = UART_WORDLENGTH_8B;
  huart6.Init.StopBits = UART_STOPBITS_1;
  huart6.Init.Parity = UART_PARITY_NONE;
  huart6.Init.Mode = UART_MODE_TX_RX;
  huart6.Init.HwFlowCtl = UART_HWCONTROL_NONE;
  huart6.Init.OverSampling = UART_OVERSAMPLING_16;
  if (HAL_UART_Init(&huart6) != HAL_OK)
  {
    Error_Handler();
  }

}

static void MX_DMA_Init(void)
{

  /* DMA controller clock enable */
  __HAL_RCC_DMA2_CLK_ENABLE();

  /* DMA interrupt init */
  /* DMA2_Stream0_IRQn interrupt configuration */
  HAL_NVIC_SetPriority(DMA2_Stream0_IRQn, 5, 0);
  HAL_NVIC_EnableIRQ(DMA2_Stream0_IRQn);
  /* DMA2_Stream1_IRQn interrupt configuration */
  HAL_NVIC_SetPriority(DMA2_Stream1_IRQn, 5, 0);
  HAL_NVIC_EnableIRQ(DMA2_Stream1_IRQn);

}

static void MX_GPIO_Init(void)
{
  GPIO_InitTypeDef GPIO_InitStruct = {0};

  /* GPIO Ports Clock Enable */
  __HAL_RCC_GPIOE_CLK_ENABLE();
  __HAL_RCC_GPIOF_CLK_ENABLE();
  __HAL_RCC_GPIOH_CLK_ENABLE();
  __HAL_RCC_GPIOC_CLK_ENABLE();
  __HAL_RCC_GPIOA_CLK_ENABLE();
  __HAL_RCC_GPIOB_CLK_ENABLE();
  __HAL_RCC_GPIOD_CLK_ENABLE();
  __HAL_RCC_GPIOG_CLK_ENABLE();

  /*Configure GPIO pin Output Level */
  HAL_GPIO_WritePin(GPIOE, OUT7_Pin|OUT6_Pin|OUT5_Pin|OUT4_Pin
                          |OUT3_Pin|PWM_O1_Pin|PWM_O2_Pin|PWM_O3_Pin
                          |PWM_O4_Pin|PWM_O5_Pin|OUT8_Pin, GPIO_PIN_RESET);

  /*Configure GPIO pin Output Level */
  HAL_GPIO_WritePin(GPIOF, OUT2_Pin|OUT1_Pin|PWM_O7_Pin|PWM_O6_Pin, GPIO_PIN_RESET);

  /*Configure GPIO pin Output Level */
  HAL_GPIO_WritePin(SPI_CS_GPIO_Port, SPI_CS_Pin, GPIO_PIN_SET);

  /*Configure GPIO pin Output Level */
  HAL_GPIO_WritePin(OUT10_GPIO_Port, OUT10_Pin, GPIO_PIN_RESET);

  /*Configure GPIO pin Output Level */
  HAL_GPIO_WritePin(GPIOC, OUT11_Pin|OUT12_Pin, GPIO_PIN_RESET);

  /*Configure GPIO pin Output Level */
  HAL_GPIO_WritePin(GPIOB, OUT9_Pin|EE_WP_Pin, GPIO_PIN_RESET);

  /*Configure GPIO pin Output Level */
  HAL_GPIO_WritePin(GPIOB, EE_SCL_Pin|EE_SDA_Pin, GPIO_PIN_SET);

  /*Configure GPIO pin Output Level */
  HAL_GPIO_WritePin(GPIOG, RX8025_SCL_Pin|RX8025_SDA_Pin, GPIO_PIN_SET);

  /*Configure GPIO pins : OUT7_Pin OUT6_Pin OUT5_Pin OUT4_Pin
                           OUT3_Pin PWM_O1_Pin PWM_O2_Pin PWM_O3_Pin
                           PWM_O4_Pin PWM_O5_Pin OUT8_Pin */
  GPIO_InitStruct.Pin = OUT7_Pin|OUT6_Pin|OUT5_Pin|OUT4_Pin
                          |OUT3_Pin|PWM_O1_Pin|PWM_O2_Pin|PWM_O3_Pin
                          |PWM_O4_Pin|PWM_O5_Pin|OUT8_Pin;
  GPIO_InitStruct.Mode = GPIO_MODE_OUTPUT_PP;
  GPIO_InitStruct.Pull = GPIO_NOPULL;
  GPIO_InitStruct.Speed = GPIO_SPEED_FREQ_VERY_HIGH;
  HAL_GPIO_Init(GPIOE, &GPIO_InitStruct);

  /*Configure GPIO pins : OUT2_Pin OUT1_Pin PWM_O7_Pin PWM_O6_Pin */
  GPIO_InitStruct.Pin = OUT2_Pin|OUT1_Pin|PWM_O7_Pin|PWM_O6_Pin;
  GPIO_InitStruct.Mode = GPIO_MODE_OUTPUT_PP;
  GPIO_InitStruct.Pull = GPIO_NOPULL;
  GPIO_InitStruct.Speed = GPIO_SPEED_FREQ_VERY_HIGH;
  HAL_GPIO_Init(GPIOF, &GPIO_InitStruct);

  /*Configure GPIO pins : IN24_Pin IN23_Pin IN22_Pin IN21_Pin
                           IN16_Pin IN19_Pin IN20_Pin */
  GPIO_InitStruct.Pin = IN24_Pin|IN23_Pin|IN22_Pin|IN21_Pin
                          |IN16_Pin|IN19_Pin|IN20_Pin;
  GPIO_InitStruct.Mode = GPIO_MODE_IT_FALLING;
  GPIO_InitStruct.Pull = GPIO_NOPULL;
  HAL_GPIO_Init(GPIOA, &GPIO_InitStruct);

  /*Configure GPIO pins : SPI_CS_Pin OUT10_Pin */
  GPIO_InitStruct.Pin = SPI_CS_Pin|OUT10_Pin;
  GPIO_InitStruct.Mode = GPIO_MODE_OUTPUT_PP;
  GPIO_InitStruct.Pull = GPIO_NOPULL;
  GPIO_InitStruct.Speed = GPIO_SPEED_FREQ_VERY_HIGH;
  HAL_GPIO_Init(GPIOA, &GPIO_InitStruct);

  /*Configure GPIO pins : OUT11_Pin OUT12_Pin */
  GPIO_InitStruct.Pin = OUT11_Pin|OUT12_Pin;
  GPIO_InitStruct.Mode = GPIO_MODE_OUTPUT_PP;
  GPIO_InitStruct.Pull = GPIO_NOPULL;
  GPIO_InitStruct.Speed = GPIO_SPEED_FREQ_VERY_HIGH;
  HAL_GPIO_Init(GPIOC, &GPIO_InitStruct);

  /*Configure GPIO pin : OUT9_Pin */
  GPIO_InitStruct.Pin = OUT9_Pin;
  GPIO_InitStruct.Mode = GPIO_MODE_OUTPUT_PP;
  GPIO_InitStruct.Pull = GPIO_NOPULL;
  GPIO_InitStruct.Speed = GPIO_SPEED_FREQ_VERY_HIGH;
  HAL_GPIO_Init(OUT9_GPIO_Port, &GPIO_InitStruct);

  /*Configure GPIO pin : EE_WP_Pin */
  GPIO_InitStruct.Pin = EE_WP_Pin;
  GPIO_InitStruct.Mode = GPIO_MODE_OUTPUT_PP;
  GPIO_InitStruct.Pull = GPIO_NOPULL;
  GPIO_InitStruct.Speed = GPIO_SPEED_FREQ_HIGH;
  HAL_GPIO_Init(EE_WP_GPIO_Port, &GPIO_InitStruct);

  /*Configure GPIO pins : EE_SCL_Pin EE_SDA_Pin */
  GPIO_InitStruct.Pin = EE_SCL_Pin|EE_SDA_Pin;
  GPIO_InitStruct.Mode = GPIO_MODE_OUTPUT_OD;
  GPIO_InitStruct.Pull = GPIO_PULLUP;
  GPIO_InitStruct.Speed = GPIO_SPEED_FREQ_VERY_HIGH;
  HAL_GPIO_Init(GPIOB, &GPIO_InitStruct);

  /*Configure GPIO pins : IN1_Pin IN2_Pin */
  GPIO_InitStruct.Pin = IN1_Pin|IN2_Pin;
  GPIO_InitStruct.Mode = GPIO_MODE_IT_FALLING;
  GPIO_InitStruct.Pull = GPIO_NOPULL;
  HAL_GPIO_Init(GPIOB, &GPIO_InitStruct);

  /*Configure GPIO pins : IN3_Pin IN5_Pin IN25_Pin */
  GPIO_InitStruct.Pin = IN3_Pin|IN5_Pin|IN25_Pin;
  GPIO_InitStruct.Mode = GPIO_MODE_INPUT;
  GPIO_InitStruct.Pull = GPIO_NOPULL;
  HAL_GPIO_Init(GPIOD, &GPIO_InitStruct);

  /*Configure GPIO pins : IN4_Pin IN6_Pin */
  GPIO_InitStruct.Pin = IN4_Pin|IN6_Pin;
  GPIO_InitStruct.Mode = GPIO_MODE_IT_FALLING;
  GPIO_InitStruct.Pull = GPIO_NOPULL;
  HAL_GPIO_Init(GPIOD, &GPIO_InitStruct);

  /*Configure GPIO pins : IN7_Pin IN8_Pin IN9_Pin IN10_Pin
                           IN11_Pin */
  GPIO_InitStruct.Pin = IN7_Pin|IN8_Pin|IN9_Pin|IN10_Pin
                          |IN11_Pin;
  GPIO_InitStruct.Mode = GPIO_MODE_INPUT;
  GPIO_InitStruct.Pull = GPIO_NOPULL;
  HAL_GPIO_Init(GPIOG, &GPIO_InitStruct);

  /*Configure GPIO pins : IN12_Pin IN13_Pin */
  GPIO_InitStruct.Pin = IN12_Pin|IN13_Pin;
  GPIO_InitStruct.Mode = GPIO_MODE_IT_FALLING;
  GPIO_InitStruct.Pull = GPIO_NOPULL;
  HAL_GPIO_Init(GPIOC, &GPIO_InitStruct);

  /*Configure GPIO pins : IN14_Pin IN15_Pin */
  GPIO_InitStruct.Pin = IN14_Pin|IN15_Pin;
  GPIO_InitStruct.Mode = GPIO_MODE_INPUT;
  GPIO_InitStruct.Pull = GPIO_NOPULL;
  HAL_GPIO_Init(GPIOC, &GPIO_InitStruct);

  /*Configure GPIO pins : IN17_Pin IN18_Pin */
  GPIO_InitStruct.Pin = IN17_Pin|IN18_Pin;
  GPIO_InitStruct.Mode = GPIO_MODE_INPUT;
  GPIO_InitStruct.Pull = GPIO_NOPULL;
  HAL_GPIO_Init(GPIOA, &GPIO_InitStruct);

  /*Configure GPIO pins : RX8025_SCL_Pin RX8025_SDA_Pin */
  GPIO_InitStruct.Pin = RX8025_SCL_Pin|RX8025_SDA_Pin;
  GPIO_InitStruct.Mode = GPIO_MODE_OUTPUT_OD;
  GPIO_InitStruct.Pull = GPIO_PULLUP;
  GPIO_InitStruct.Speed = GPIO_SPEED_FREQ_VERY_HIGH;
  HAL_GPIO_Init(GPIOG, &GPIO_InitStruct);

  /* EXTI interrupt init*/
  HAL_NVIC_SetPriority(EXTI0_IRQn, 5, 0);
  HAL_NVIC_EnableIRQ(EXTI0_IRQn);

  HAL_NVIC_SetPriority(EXTI1_IRQn, 5, 0);
  HAL_NVIC_EnableIRQ(EXTI1_IRQn);

  HAL_NVIC_SetPriority(EXTI2_IRQn, 5, 0);
  HAL_NVIC_EnableIRQ(EXTI2_IRQn);

  HAL_NVIC_SetPriority(EXTI3_IRQn, 5, 0);
  HAL_NVIC_EnableIRQ(EXTI3_IRQn);

  HAL_NVIC_SetPriority(EXTI9_5_IRQn, 5, 0);
  HAL_NVIC_EnableIRQ(EXTI9_5_IRQn);

  HAL_NVIC_SetPriority(EXTI15_10_IRQn, 5, 0);
  HAL_NVIC_EnableIRQ(EXTI15_10_IRQn);

}

/* USER CODE BEGIN 4 */
uint8_t pcWriteBuffer[512], StackPrint;
/* USER CODE END 4 */

void StartDefaultTask(void const * argument)
{
  /* USER CODE BEGIN 5 */
    StackPrint = 0;
    osDelay(1000);
  /* Infinite loop */
  for(;;)
  {
#if WDG_ENABLE
       HAL_IWDG_Refresh(&hiwdg);
#endif
       if (StackPrint) {
           osDelay(2000);
           printf("\033[2J\033[0;0H"); // ����ָ��
           printf("============================\r\n");
           printf("\033[33;1m\r\n������\t\t״̬\t���ȼ�\tʣ��ջ\t���\033[37;0m\r\n");
           vTaskList((char *)pcWriteBuffer);
           printf("%s\r\n\r\n\r\n", pcWriteBuffer);
       }
    osDelay(200);
  }
  /* USER CODE END 5 */
}

void Error_Handler(void)
{
}
